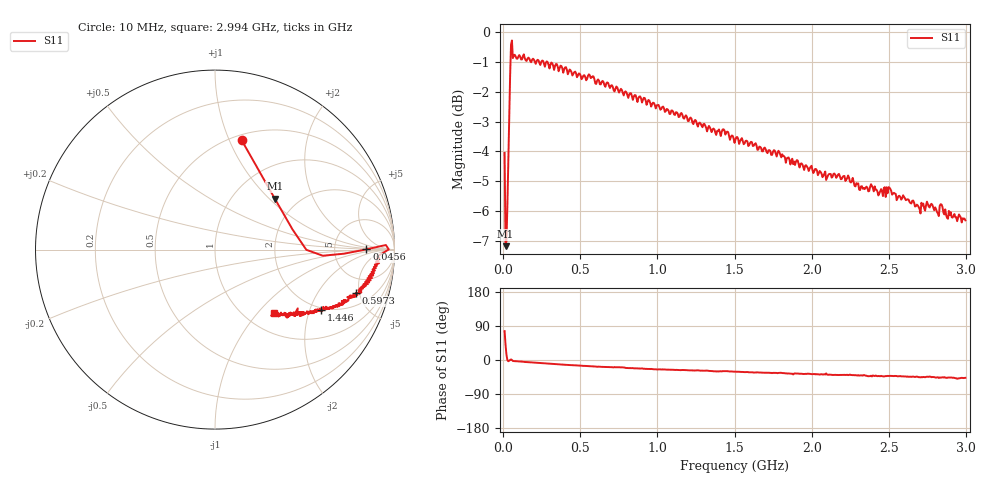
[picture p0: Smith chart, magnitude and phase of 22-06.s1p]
# HZ S RI R 50
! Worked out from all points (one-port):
!   504 points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, 10 MHz to 2.994 GHz, reference 50 ohm
!   lowest |S11| = -7.2 dB at 15.93 MHz (marker M1), VSWR 2.56, Z = 76.8 + j54.1 ohm
!   |S11| at or under -10 dB: nowhere
!   S11 on the Smith chart (normalised r, x): 10 MHz: 0.55, +1.11; 45.6 MHz: 12, +0; 597.3 MHz: 3.10, -4.60; 1.446 GHz: 1.93, -2.40; 2.994 GHz: 1.33, -1.23
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1e7  0.1486 0.6095
1.593254e7  0.3328 0.2845
2.186508e7  0.4319 0.1123
2.779762e7  0.509 -0.0013
3.373016e7  0.6006 -0.034
4.559524e7  0.8432 0.00127
5.746032e7  0.9682 0.00109
6.339286e7  0.9035 -0.0391
7.525794e7  0.9151 -0.0486
9.89881e7  0.9078 -0.062
3.8375e8  0.8505 -0.1814
5.973215e8  0.7839 -0.2421
7.575e8  0.7532 -0.2652
9.236112e8  0.7033 -0.3081
1.13125e9  0.6552 -0.3217
1.380417e9  0.5809 -0.3388
1.445675e9  0.591 -0.3349
1.505e9  0.5658 -0.3414
1.795695e9  0.5174 -0.3463
1.87875e9  0.4729 -0.3706
2.2525e9  0.4315 -0.3567
2.365218e9  0.3974 -0.3671
2.507599e9  0.4068 -0.3642
2.62625e9  0.3751 -0.3659
2.703373e9  0.3463 -0.356
2.756766e9  0.3644 -0.3572
2.940675e9  0.3125 -0.3672
2.994068e9  0.3293 -0.3543
